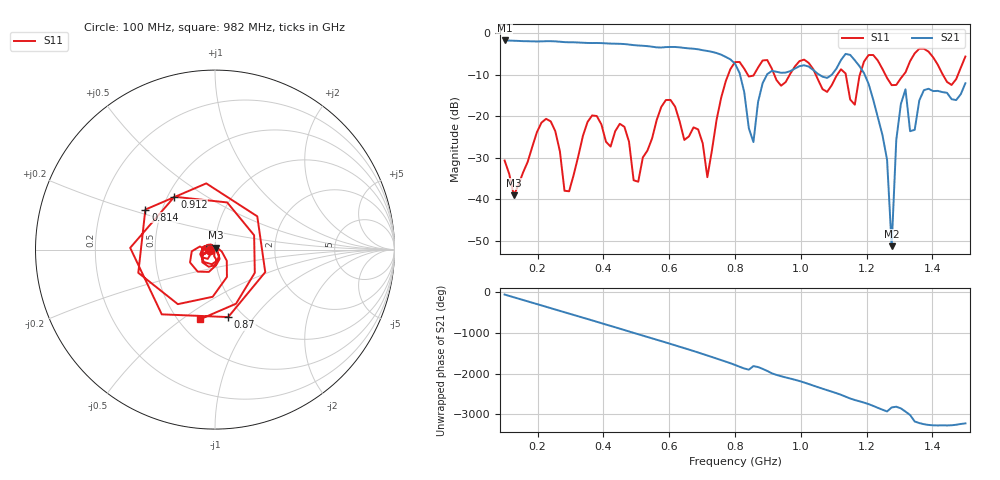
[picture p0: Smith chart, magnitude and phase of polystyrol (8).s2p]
! NanoVNA-App
! Date: 2025-09-25 15:29:57
! Start: 100MHz Stop: 1,5GHz Points: 101
! S-Parameter data: F S11 S21 S12 S22
# Hz S RI R 50
!  Frequency  S11_Real  S11_Imag  S21_Real  S21_Imag  S12_Real  S12_Imag  S22_Real  S22_Imag
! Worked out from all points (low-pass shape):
!   101 points, 100 MHz to 1.5 GHz, reference 50 ohm
!   highest |S21| = -1.80 dB at 100 MHz (marker M1); lowest = -51.3 dB at 1.276 GHz (marker M2)
!   |S21| within 3 dB of the highest: start of sweep to 742.8 MHz
!   lowest |S11| = -39.1 dB at 128 MHz (marker M3), VSWR 1.02, Z = 50.3 + j1.07 ohm
!   |S11| at or under -10 dB: start of sweep to 779.7 MHz; 1.045 GHz to 1.111 GHz (65.82 MHz wide, 6.11 % of centre); 1.257 GHz to 1.313 GHz (56.16 MHz wide, 4.37 % of centre) (the widest 3 of 7)
!   S12 and S22 are empty: the file has one direction only
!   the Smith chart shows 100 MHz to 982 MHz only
!   S11 on the Smith chart (normalised r, x): 100 MHz: 0.94, -0.01; 814 MHz: 0.40, +0.23; 870 MHz: 0.85, -0.75; 912 MHz: 0.54, +0.37; 982 MHz: 0.64, -0.59
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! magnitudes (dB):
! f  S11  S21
! 100 MHz  -30.7  -1.8
! 128 MHz  -39.1  -1.9
! 212 MHz  -21.6  -2.0
! 282 MHz  -38.0  -2.2
! 338 MHz  -24.7  -2.3
! 464 MHz  -22.6  -2.7
! 506 MHz  -35.8  -3.0
! 576 MHz  -17.8  -3.5
! 716 MHz  -34.7  -4.3
! 800 MHz  -7.0  -7.4
! 814 MHz  -7.0  -9.7
! 856 MHz  -10.3  -26.3
! 870 MHz  -8.3  -16.6
! 912 MHz  -8.6  -9.1
! 982 MHz  -8.1  -8.6
! 1.038 GHz  -8.7  -8.9
! 1.192 GHz  -6.9  -9.7
! 1.262 GHz  -10.8  -30.5
! 1.276 GHz  -12.6  -51.3
! 1.29 GHz  -12.5  -25.7
! 1.318 GHz  -9.5  -13.6
! 1.5 GHz  -5.7  -12.1
